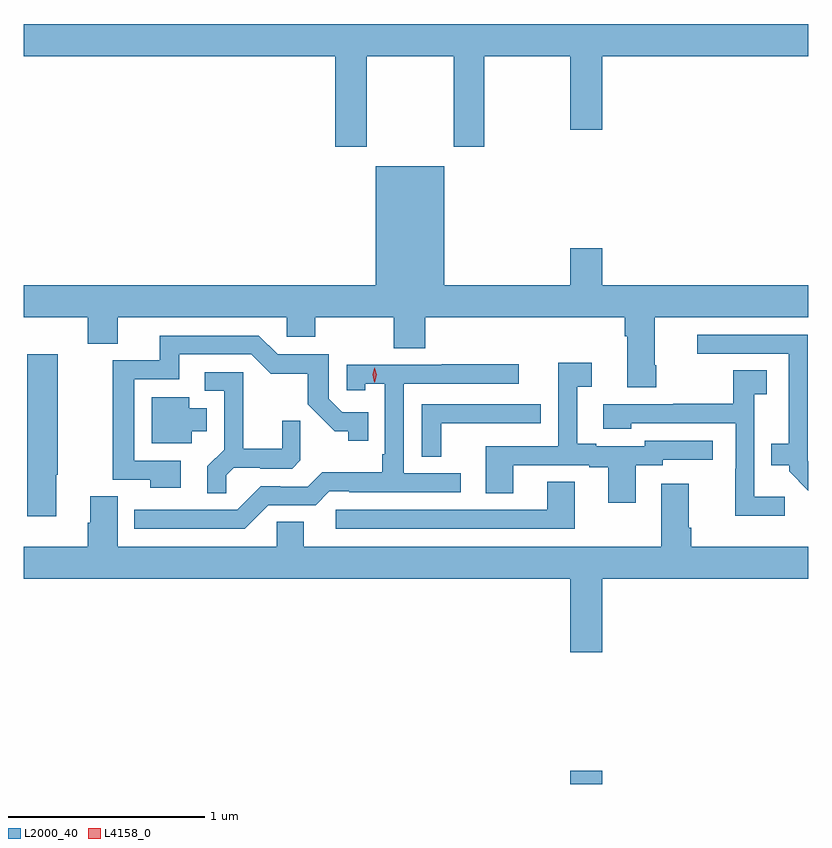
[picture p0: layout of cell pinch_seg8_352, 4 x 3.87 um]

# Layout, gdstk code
import gdstk
lib = gdstk.Library(unit=1e-6, precision=1e-09)
def R(c, l, rs):  # rectangles x0, y0, x1, y1
    for r in rs: c.add(gdstk.rectangle(r[:2], r[2:], *l))
def P(c, l, *ps):  # polygons
    for p in ps: c.add(gdstk.Polygon(p, *l))
L2000_40 = (2000, 40)
L4158_0 = (4158, 0)

pinch_seg8_352 = lib.new_cell('pinch_seg8_352')
R(pinch_seg8_352, L2000_40, [(368.804,1158.078,368.968,1158.145)])
P(pinch_seg8_352, L2000_40, [(367.767,1161.788),(368.212,1161.788),(368.212,1161.327),(368.367,1161.327),(368.367,1161.788),(368.804,1161.788),(368.804,1161.414),(368.968,1161.414),(368.968,1161.788),(370.019,1161.788),(370.019,1161.952),(366.019,1161.952),(366.019,1161.788),(367.607,1161.788),(367.607,1161.327),(367.767,1161.327)],
  [(369.243,1160.212),(369.235,1160.212),(369.235,1160.456),(370.019,1160.456),(370.019,1160.62),(368.968,1160.62),(368.968,1160.809),(368.804,1160.809),(368.804,1160.62),(368.164,1160.62),(368.164,1161.226),(367.814,1161.226),(367.814,1160.62),(366.019,1160.62),(366.019,1160.456),(366.347,1160.456),(366.347,1160.323),(366.499,1160.323),(366.499,1160.456),(367.359,1160.456),(367.359,1160.358),(367.506,1160.358),(367.506,1160.456),(367.906,1160.456),(367.906,1160.299),(368.066,1160.299),(368.066,1160.456),(369.083,1160.456),(369.083,1160.36),(369.095,1160.36),(369.095,1160.1),(369.243,1160.1)],
  [(370.019,1159.723),(370.017,1159.725),(370.017,1160.367),(369.453,1160.367),(369.453,1160.271),(369.92,1160.271),(369.92,1159.813),(369.829,1159.813),(369.829,1159.703),(369.921,1159.703),(369.921,1159.671),(370.019,1159.573)],
  [(366.82,1159.725),(366.582,1159.725),(366.582,1160.142),(366.811,1160.142),(366.811,1160.268),(367.179,1160.268),(367.278,1160.17),(367.467,1160.17),(367.467,1160.014),(367.604,1159.877),(367.674,1159.877),(367.674,1159.827),(367.775,1159.827),(367.775,1159.974),(367.644,1159.974),(367.575,1160.043),(367.575,1160.268),(367.314,1160.268),(367.218,1160.364),(366.713,1160.364),(366.713,1160.238),(366.474,1160.238),(366.474,1159.629),(366.664,1159.629),(366.664,1159.589),(366.82,1159.589)],
  [(366.184,1159.655),(366.192,1159.655),(366.192,1160.269),(366.038,1160.269),(366.038,1159.443),(366.184,1159.443)],
  [(369.139,1159.704),(369.276,1159.704),(369.276,1159.731),(369.532,1159.731),(369.532,1159.827),(369.186,1159.827),(369.186,1159.8),(368.938,1159.8),(368.938,1159.813),(368.842,1159.813),(368.842,1160.104),(368.914,1160.104),(368.914,1160.224),(368.745,1160.224),(368.745,1159.8),(368.375,1159.8),(368.375,1159.561),(368.515,1159.561),(368.515,1159.704),(368.903,1159.704),(368.903,1159.692),(368.999,1159.692),(368.999,1159.512),(369.139,1159.512)],
  [(367.266,1159.5),(367.509,1159.5),(367.578,1159.569),(367.678,1159.569),(367.678,1159.566),(368.248,1159.566),(368.248,1159.662),(367.956,1159.662),(367.956,1160.118),(368.542,1160.118),(368.542,1160.217),(368.149,1160.217),(368.149,1160.214),(367.665,1160.214),(367.665,1160.085),(367.761,1160.085),(367.761,1160.117),(367.86,1160.117),(367.86,1159.759),(367.848,1159.759),(367.848,1159.666),(367.54,1159.666),(367.467,1159.593),(367.328,1159.593),(367.328,1159.596),(367.227,1159.596),(367.107,1159.476),(366.584,1159.476),(366.584,1159.38),(367.146,1159.38)],
  [(369.898,1159.543),(369.744,1159.543),(369.744,1160.065),(369.808,1160.065),(369.808,1160.186),(369.636,1160.186),(369.636,1160.016),(369.331,1160.016),(369.331,1160.013),(368.973,1160.013),(368.973,1159.889),(369.117,1159.889),(369.117,1159.917),(369.648,1159.917),(369.648,1159.685),(369.646,1159.685),(369.646,1159.445),(369.898,1159.445)],
  [(367.053,1159.652),(367.09,1159.689),(367.224,1159.689),(367.224,1159.686),(367.389,1159.686),(367.43,1159.727),(367.43,1159.929),(367.336,1159.929),(367.336,1159.786),(367.139,1159.786),(367.139,1160.178),(366.942,1160.178),(366.942,1160.082),(367.041,1160.082),(367.041,1159.783),(366.955,1159.697),(366.955,1159.561),(367.053,1159.561)],
  [(366.877,1159.877),(366.952,1159.877),(366.952,1159.993),(366.862,1159.993),(366.862,1160.05),(366.671,1160.05),(366.671,1159.814),(366.877,1159.814)],
  [(368.148,1159.917),(368.543,1159.917),(368.543,1159.918),(368.656,1159.918),(368.656,1160.013),(368.049,1160.013),(368.049,1159.747),(368.148,1159.747)],
  [(368.827,1159.619),(368.687,1159.619),(368.687,1159.476),(367.611,1159.476),(367.611,1159.38),(368.827,1159.38)],
  [(367.447,1159.415),(367.308,1159.415),(367.308,1159.288),(366.499,1159.288),(366.499,1159.544),(366.359,1159.544),(366.359,1159.41),(366.347,1159.41),(366.347,1159.288),(366.019,1159.288),(366.019,1159.124),(368.804,1159.124),(368.804,1158.75),(368.968,1158.75),(368.968,1159.124),(370.019,1159.124),(370.019,1159.288),(369.422,1159.288),(369.422,1159.384),(369.409,1159.384),(369.409,1159.609),(369.269,1159.609),(369.269,1159.288),(367.447,1159.288)])
P(pinch_seg8_352, L4158_0, [(367.807,1160.127),(367.798,1160.163),(367.807,1160.198),(367.808,1160.199),(367.808,1160.198),(367.818,1160.163),(367.808,1160.127),(367.808,1160.127)])

lib.write_gds('pinch_seg8_352.gds')
